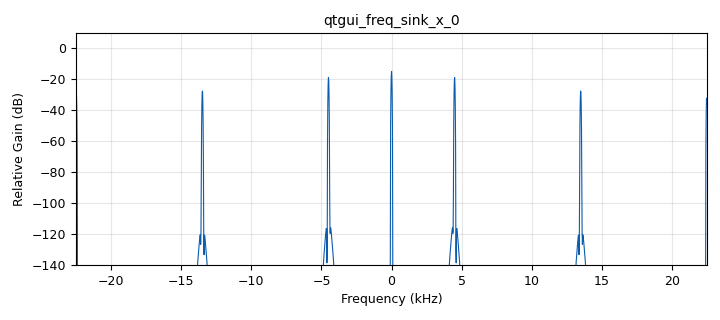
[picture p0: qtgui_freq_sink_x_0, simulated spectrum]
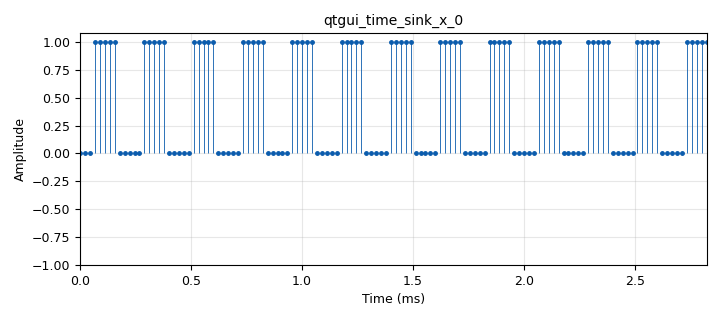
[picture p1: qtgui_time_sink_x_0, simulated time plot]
options:
  parameters:
    author: Jose_Barrios_Sergio_Velez_BIC_G4
    generate_options: qt_gui
    id: LAb_comu_1
    output_language: python
    title: Primera Practica
  states: {}

blocks:
- name: freq
  id: variable_qtgui_range
  parameters:
    label: 'Frequency '
    start: '1000'
    step: '1000'
    stop: '40000'
    value: '2000'
  states: {state: disabled}
- name: freq
  id: variable
  parameters:
    value: '4500'
  states: {}
- name: samp_rate
  id: variable
  parameters:
    value: '45000'
  states: {}
- name: samp_rate
  id: variable_qtgui_range
  parameters:
    label: frecuencia de muestreo
    start: '1000'
    step: '1000'
    stop: '80000'
    value: '10000'
  states: {state: disabled}
- name: analog_sig_source_x_0
  id: analog_sig_source_x
  parameters:
    amp: '1'
    freq: freq
    offset: '0'
    phase: '0'
    samp_rate: samp_rate
    type: float
    waveform: analog.GR_SQR_WAVE
  states: {}
- name: blocks_throttle2_0
  id: blocks_throttle2
  parameters:
    samples_per_second: samp_rate
    type: float
  states: {}
- name: qtgui_freq_sink_x_0
  id: qtgui_freq_sink_x
  parameters:
    bw: samp_rate
    fc: '0'
    fftsize: '2048'
    type: float
  states: {}
- name: qtgui_time_sink_x_0
  id: qtgui_time_sink_x
  parameters:
    size: '128'
    srate: samp_rate
    stemplot: 'True'
    type: float
  states: {}

connections:
- [analog_sig_source_x_0, '0', blocks_throttle2_0, '0']
- [blocks_throttle2_0, '0', qtgui_freq_sink_x_0, '0']
- [blocks_throttle2_0, '0', qtgui_time_sink_x_0, '0']

metadata:
  file_format: 1
  grc_version: v3.10.11.0-89-ga17f69e7
